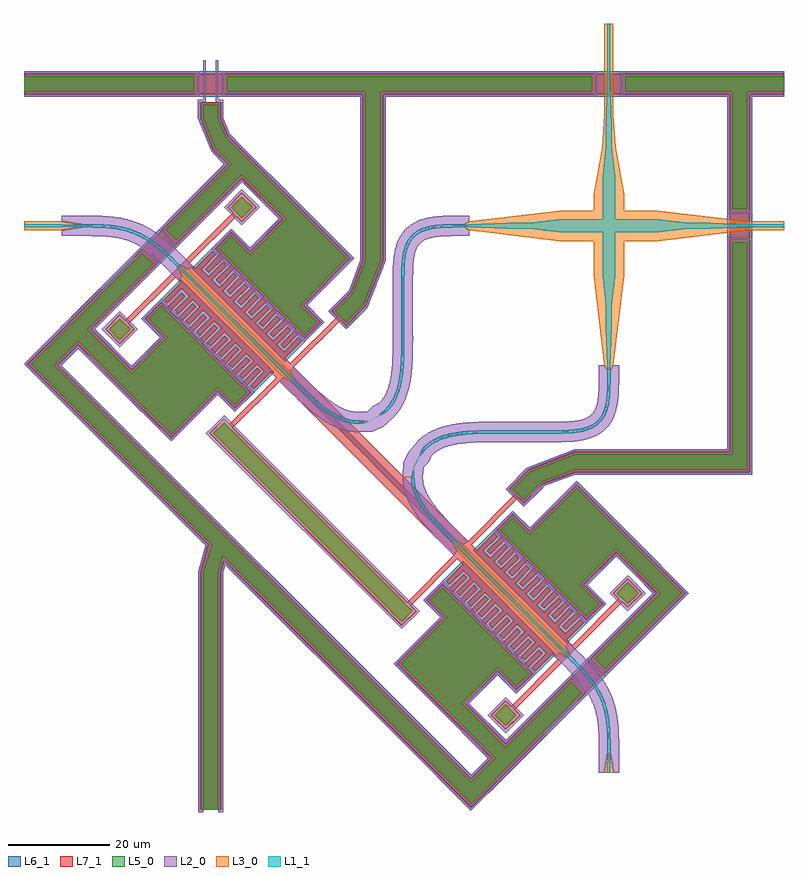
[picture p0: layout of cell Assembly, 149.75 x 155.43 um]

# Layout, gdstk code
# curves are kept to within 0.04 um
from math import pi, radians
import gdstk
lib = gdstk.Library(unit=1e-6, precision=1e-09)
def R(c, l, rs):  # rectangles x0, y0, x1, y1
    for r in rs: c.add(gdstk.rectangle(r[:2], r[2:], *l))
def A(c, l, x, y, w, h, nx, ny, dx, dy):  # array of equal rectangles
    R(c, l, [(x+i*dx, y+j*dy, x+i*dx+w, y+j*dy+h) for i in range(nx) for j in range(ny)])
def P(c, l, *ps):  # polygons
    for p in ps: c.add(gdstk.Polygon(p, *l))
L1_1 = (1, 1)
L2_0 = (2, 0)
L3_0 = (3, 0)
L5_0 = (5, 0)
L6_1 = (6, 1)
L7_1 = (7, 1)

bridge_short = lib.new_cell('Bridge_Short')
P(bridge_short, L2_0, [(-46.704,49.897),(-41.704,49.897),(-41.704,54.897),(-42.204,54.897),(-42.204,50.397),(-46.204,50.397),(-46.204,54.897),(-46.704,54.897)],
  [(-46.704,40.397),(-46.204,40.397),(-46.204,44.897),(-42.204,44.897),(-42.204,40.397),(-41.704,40.397),(-41.704,45.397),(-46.704,45.397)])
R(bridge_short, L5_0, [(-45.704,39.397,-42.704,44.397), (-45.704,50.897,-42.704,55.897)])
R(bridge_short, L6_1, [(-46.704,40.396,-41.704,45.397), (-46.704,45.397,-41.704,49.897), (-46.704,49.897,-41.704,54.897)])
R(bridge_short, L7_1, [(-46.204,39.897,-42.204,44.897), (-46.204,44.897,-42.204,50.397), (-46.204,50.397,-42.204,55.397)])

couplerinlet = lib.new_cell('CouplerInlet')
P(couplerinlet, L6_1, [(-33.954,47.721),(-3.954,48.146),(-3.954,47.146),(-33.954,47.571)])
R(couplerinlet, L7_1, [(-33.954,45.646,-3.954,49.646)])

anchorbeam_l13w1 = lib.new_cell('AnchorBeam_L13W1')
P(anchorbeam_l13w1, L2_0, [(-35.954,28.146),(-35.454,28.146),(-35.454,32.646),(-31.454,32.646),(-31.454,28.646),(-35.454,28.646),(-35.454,28.146),(-30.954,28.146),(-30.954,33.146),(-35.954,33.146)])
R(anchorbeam_l13w1, L5_0, [(-34.954,29.146,-31.954,32.146)])
R(anchorbeam_l13w1, L7_1, [(-35.454,28.646,-31.454,32.646), (-33.954,32.646,-32.954,45.646)])

anchoredcouplerinlet_woc = lib.new_cell('AnchoredCouplerInlet_woComb')
P(anchoredcouplerinlet_woc, L2_0, [(-1.954,62.646),(-6.454,62.646),(-6.454,67.146),(-6.954,67.146),(-6.954,62.146),(-1.954,62.146)],
  [(-6.954,28.146),(-6.454,28.646),(-6.454,32.646),(-2.454,32.646),(-1.954,33.146),(-6.954,33.146)])
R(anchoredcouplerinlet_woc, L5_0, [(-5.954,29.146,-2.954,32.146), (-5.954,63.146,-2.954,66.146)])
R(anchoredcouplerinlet_woc, L7_1, [(-6.454,28.646,-2.454,32.646), (-4.954,32.646,-3.954,45.646), (-4.954,49.646,-3.954,62.646), (-6.454,62.646,-2.454,66.646)])
anchoredcouplerinlet_woc.add(gdstk.Reference(couplerinlet, (0,0)))
anchoredcouplerinlet_woc.add(gdstk.Reference(anchorbeam_l13w1, (-66.908,95.292), rotation=pi))
anchoredcouplerinlet_woc.add(gdstk.Reference(anchorbeam_l13w1, (0,0)))

electrodeturn = lib.new_cell('ElectrodeTurn')
R(electrodeturn, L2_0, [(-41.954,54.896,-41.454,68.646), (-37.454,54.896,-36.954,68.146), (-26.704,59.646,-26.204,68.646), (-37.454,68.146,-26.704,68.646), (-32.395,72.646,-26.704,73.146), (-26.704,72.646,-16.704,73.146)])
P(electrodeturn, L2_0, [(-16.704,72.646),(-11.204,72.646),(-11.204,59.646),(-10.704,59.646),(-10.704,73.146),(-16.704,73.146)])
R(electrodeturn, L5_0, [(-40.954,55.896,-37.954,69.146), (-25.704,59.146,-11.704,72.146), (-40.954,69.146,-25.704,72.146)])
R(electrodeturn, L6_1, [(-41.954,54.896,-36.954,68.146), (-26.704,59.146,-10.704,73.146), (-41.954,68.146,-26.704,73.146)])
R(electrodeturn, L7_1, [(-41.454,55.396,-37.454,68.646), (-26.204,59.646,-11.204,72.646), (-41.454,68.646,-26.204,72.646)])

combelectrode = lib.new_cell('CombElectrode')
R(combelectrode, L2_0, [(-41.954,54.867,-41.454,54.938)])
combelectrode.add(gdstk.Reference(electrodeturn, (0,0.001)))
combelectrode.add(gdstk.Reference(electrodeturn, (0,95.293), x_reflection=True))
combelectrode.add(gdstk.Reference(bridge_short, (4.75,0)))

comb_l4w1_g500_d500_stop = lib.new_cell('Comb_L4W1_G500_D500_StoppersCent')
P(comb_l4w1_g500_d500_stop, L2_0, [(214.141,5.825),(240.141,5.825),(240.141,11.325),(234.891,11.325),(234.891,10.825),(239.641,10.825),(239.641,6.325),(214.641,6.325),(214.641,10.825),(219.891,10.825),(219.891,11.325),(214.141,11.325)])
R(comb_l4w1_g500_d500_stop, L5_0, [(215.141,6.825,239.141,10.325)])
R(comb_l4w1_g500_d500_stop, L6_1, [(214.141,0.325,240.141,11.325)])
A(comb_l4w1_g500_d500_stop, L7_1, 214.641, 0.825, 1, 1.3, 9, 1, 3, 0)
A(comb_l4w1_g500_d500_stop, L7_1, 214.641, 1.575, 1, 4, 9, 1, 3, 0)
A(comb_l4w1_g500_d500_stop, L7_1, 216.141, 2.075, 1, 4.25, 8, 1, 3, 0)
R(comb_l4w1_g500_d500_stop, L7_1, [(214.641,0.825,239.641,1.575), (214.641,6.325,239.641,10.825)])

actuator_stopperscenter = lib.new_cell('Actuator_StoppersCenter')
actuator_stopperscenter.add(gdstk.Reference(anchoredcouplerinlet_woc, (0,0)))
actuator_stopperscenter.add(gdstk.Reference(combelectrode, (0,-0.001)))
actuator_stopperscenter.add(gdstk.Reference(comb_l4w1_g500_d500_stop, (-246.095,48.821)))
actuator_stopperscenter.add(gdstk.Reference(comb_l4w1_g500_d500_stop, (-246.095,46.471), x_reflection=True))

couplerbody = lib.new_cell('CouplerBody')
R(couplerbody, L6_1, [(53.513,23.554,102.021,24.554)])
R(couplerbody, L7_1, [(53.513,22.054,102.021,26.054)])

linearcoupler_wcomb_wanc = lib.new_cell('LinearCoupler_wComb_wAnchors')
linearcoupler_wcomb_wanc.add(gdstk.Reference(actuator_stopperscenter, (69.359,-12.999), rotation=pi, x_reflection=True))
linearcoupler_wcomb_wanc.add(gdstk.Reference(actuator_stopperscenter, (28.759,-12.999)))
linearcoupler_wcomb_wanc.add(gdstk.Reference(couplerbody, (-28.708,10.593)))

sineturn_ang45_w0p6_r015 = lib.new_cell('SineTurn_ang45_w0p6_R015000nm_Of')
P(sineturn_ang45_w0p6_r015, L2_0, [(16.973,-9.237),(14.889,-7.181),(13.181,-5.653),(11.571,-4.454),(10.146,-3.623),(9.232,-3.203),(8.187,-2.822),(7.083,-2.52),(5.932,-2.299),(3.308,-2.049),(-0.5,-2),(-0.5,-0.225),(3.689,-0.291),(6.345,-0.567),(7.619,-0.823),(8.854,-1.172),(9.915,-1.565),(11.07,-2.102),(12.789,-3.134),(14.311,-4.284),(16.113,-5.895),(18.228,-7.982)],
  [(18.546,-7.664),(16.423,-5.569),(14.597,-3.936),(12.797,-2.597),(11.147,-1.636),(10.089,-1.149),(8.855,-0.699),(7.725,-0.385),(6.419,-0.123),(3.713,0.159),(-0.5,0.225),(-0.5,2),(3.809,1.931),(5.419,1.803),(6.708,1.628),(8.139,1.341),(9.387,0.994),(10.772,0.489),(11.946,-0.051),(13.775,-1.116),(15.476,-2.363),(17.18,-3.844),(19.801,-6.409)])
sineturn_ang45_w0p6_r015.add(gdstk.FlexPath([(-0.5,0),(0.621,0),(0.776,-0.001),(0.932,-0.001),(1.087,-0.002),(1.242,-0.002),(1.397,-0.004),(1.551,-0.005),(1.706,-0.006),(1.861,-0.008),(2.015,-0.011),(2.169,-0.013),(2.323,-0.016),(2.785,-0.028),(2.938,-0.033),(3.244,-0.045),(3.396,-0.051),(3.549,-0.059),(3.701,-0.066),(3.853,-0.075),(4.004,-0.084),(4.155,-0.094),(4.457,-0.116),(4.757,-0.142),(4.907,-0.156),(5.205,-0.186),(5.501,-0.22),(5.649,-0.239),(5.796,-0.258),(5.943,-0.278),(6.09,-0.3),(6.236,-0.322),(6.382,-0.345),(6.672,-0.395),(6.96,-0.449),(7.103,-0.478),(7.246,-0.508),(7.389,-0.539),(7.531,-0.571),(7.672,-0.604),(7.814,-0.639),(8.094,-0.711),(8.234,-0.75),(8.373,-0.789),(8.511,-0.829),(8.649,-0.871),(8.787,-0.914),(8.924,-0.958),(9.061,-1.004),(9.197,-1.05),(9.332,-1.098),(9.467,-1.148),(9.601,-1.198),(9.735,-1.25),(9.869,-1.303),(10.002,-1.357),(10.134,-1.413),(10.266,-1.47),(10.397,-1.528),(10.528,-1.587),(10.658,-1.648),(10.788,-1.71),(10.917,-1.773),(11.046,-1.837),(11.174,-1.903),(11.301,-1.97),(11.429,-2.038),(11.555,-2.107),(11.807,-2.249),(11.932,-2.322),(12.057,-2.397),(12.181,-2.472),(12.305,-2.548),(12.428,-2.626),(12.55,-2.705),(12.673,-2.785),(12.794,-2.866),(12.916,-2.948),(13.037,-3.032),(13.157,-3.116),(13.277,-3.201),(13.515,-3.375),(13.634,-3.464),(13.752,-3.553),(13.988,-3.735),(14.222,-3.921),(14.338,-4.015),(14.454,-4.11),(14.569,-4.206),(14.685,-4.303),(14.8,-4.401),(14.914,-4.499),(15.029,-4.598),(15.143,-4.698),(15.256,-4.799),(15.37,-4.9),(15.596,-5.104),(15.708,-5.208),(15.821,-5.311),(16.045,-5.521),(16.156,-5.626),(16.268,-5.732),(16.379,-5.838),(16.601,-6.052),(16.823,-6.268),(16.933,-6.376),(17.043,-6.485),(17.154,-6.593),(17.264,-6.702),(17.374,-6.812),(17.484,-6.921),(17.594,-7.031),(17.704,-7.14),(18.387,-7.823)], 0.45, ends="flush", simple_path=True, layer=1, datatype=1))  # L1_1

bend90sine600_r005000nm_ = lib.new_cell('Bend90Sine600_R005000nm_Off1000n')
P(bend90sine600_r005000nm_, L2_0, [(0.225,-12.107),(0.263,-8.306),(0.352,-6.985),(0.519,-5.749),(0.787,-4.625),(1.169,-3.626),(1.676,-2.765),(2.177,-2.177),(2.765,-1.676),(3.626,-1.169),(4.625,-0.787),(5.749,-0.519),(6.985,-0.352),(8.306,-0.263),(12.107,-0.225),(12.107,-2),(8.381,-2.036),(6.27,-2.231),(5.311,-2.436),(4.524,-2.711),(3.912,-3.042),(3.433,-3.433),(3.042,-3.912),(2.711,-4.524),(2.436,-5.311),(2.231,-6.27),(2.036,-8.381),(2,-12.107)],
  [(-2,-12.107),(-1.93,-7.636),(-1.799,-6.195),(-1.557,-4.794),(-1.165,-3.447),(-0.714,-2.416),(-0.128,-1.462),(0.603,-0.603),(1.462,0.128),(2.416,0.714),(3.447,1.165),(4.794,1.557),(6.195,1.799),(7.636,1.93),(12.107,2),(12.107,0.225),(8.013,0.174),(6.68,0.07),(5.425,-0.123),(4.272,-0.427),(3.432,-0.763),(2.501,-1.312),(1.859,-1.859),(1.312,-2.501),(0.763,-3.432),(0.427,-4.272),(0.123,-5.425),(-0.07,-6.68),(-0.174,-8.013),(-0.225,-12.107)])
bend90sine600_r005000nm_.add(gdstk.FlexPath([(0,-12.107),(0,-10.538),(0.002,-9.97),(0.005,-9.688),(0.008,-9.407),(0.013,-9.127),(0.02,-8.848),(0.028,-8.572),(0.038,-8.297),(0.051,-8.025),(0.066,-7.755),(0.083,-7.488),(0.104,-7.224),(0.128,-6.963),(0.154,-6.705),(0.185,-6.45),(0.219,-6.2),(0.256,-5.952),(0.298,-5.709),(0.344,-5.47),(0.394,-5.236),(0.449,-5.006),(0.508,-4.78),(0.572,-4.559),(0.641,-4.343),(0.714,-4.132),(0.793,-3.926),(0.877,-3.725),(0.966,-3.529),(1.061,-3.339),(1.161,-3.154),(1.266,-2.975),(1.378,-2.802),(1.494,-2.633),(1.617,-2.471),(1.745,-2.314),(1.879,-2.163),(2.018,-2.018),(2.163,-1.879),(2.314,-1.745),(2.471,-1.617),(2.633,-1.494),(2.802,-1.378),(2.975,-1.266),(3.154,-1.161),(3.339,-1.061),(3.529,-0.966),(3.725,-0.877),(3.926,-0.793),(4.132,-0.714),(4.343,-0.641),(4.559,-0.572),(4.78,-0.508),(5.006,-0.449),(5.236,-0.394),(5.47,-0.344),(5.709,-0.298),(5.952,-0.256),(6.2,-0.219),(6.45,-0.185),(6.705,-0.154),(6.963,-0.128),(7.224,-0.104),(7.488,-0.083),(7.755,-0.066),(8.025,-0.051),(8.297,-0.038),(8.572,-0.028),(8.848,-0.02),(9.127,-0.013),(9.407,-0.008),(9.688,-0.005),(9.97,-0.002),(10.538,0),(12.107,0)], 0.45, ends="flush", simple_path=True, layer=1, datatype=1))  # L1_1

halfsine0p6_r008000nm_of = lib.new_cell('HalfSine0p6_R008000nm_Off001nm_f')
P(halfsine0p6_r008000nm_of, L2_0, [(-2,-17.773),(-1.979,-14.554),(-1.878,-12.071),(-1.633,-9.66),(-1.26,-7.68),(-0.693,-5.808),(-0.039,-4.348),(0.794,-3.008),(1.796,-1.834),(3.069,-3.071),(2.228,-4.054),(1.406,-5.418),(0.873,-6.698),(0.397,-8.388),(0.081,-10.227),(-0.107,-12.188),(-0.204,-14.589),(-0.225,-17.773)],
  [(0.225,-17.773),(0.246,-14.599),(0.343,-12.218),(0.527,-10.285),(0.837,-8.486),(1.297,-6.846),(1.81,-5.618),(2.592,-4.32),(3.391,-3.385),(4.664,-4.622),(3.913,-5.525),(3.31,-6.596),(2.898,-7.656),(2.515,-9.129),(2.287,-10.515),(2.114,-12.335),(2.028,-14.298),(2,-17.773)])
halfsine0p6_r008000nm_of.add(gdstk.FlexPath([(0,-17.773),(0,-17.061),(0.001,-16.706),(0.002,-16.352),(0.004,-15.998),(0.006,-15.645),(0.01,-15.294),(0.015,-14.943),(0.021,-14.594),(0.029,-14.246),(0.039,-13.9),(0.05,-13.557),(0.064,-13.215),(0.079,-12.875),(0.098,-12.538),(0.118,-12.203),(0.142,-11.871),(0.168,-11.542),(0.197,-11.215),(0.229,-10.892),(0.265,-10.572),(0.304,-10.256),(0.347,-9.943),(0.393,-9.634),(0.443,-9.329),(0.497,-9.027),(0.555,-8.73),(0.617,-8.437),(0.684,-8.148),(0.755,-7.864),(0.831,-7.584),(0.911,-7.308),(0.996,-7.038),(1.085,-6.772),(1.18,-6.511),(1.279,-6.255),(1.384,-6.004),(1.494,-5.759),(1.608,-5.518),(1.729,-5.283),(1.854,-5.053),(1.985,-4.828),(2.121,-4.609),(2.263,-4.395),(2.41,-4.187),(2.563,-3.984),(2.721,-3.787),(2.885,-3.596),(3.054,-3.409),(3.229,-3.229),(3.23,-3.228)], 0.45, ends="flush", simple_path=True, layer=1, datatype=1))  # L1_1

bottomwaveguide = lib.new_cell('BottomWaveguide')
R(bottomwaveguide, L1_1, [(-56.258,-71.265,-46.607,-70.812), (-75.329,-52.191,-74.879,-42.54), (-35.1,-50.433,-33.9,-45.933), (-35.75,-40.183,-33.25,-20.683), (-44.25,-31.683,-24.75,-29.183), (-54.5,-31.033,-50,-29.833), (-19,-31.033,-14.5,-29.833), (-149.755,-30.735,-142.298,-30.135), (-7,-30.733,0,-30.133), (-35.1,-14.933,-33.9,-10.433), (-34.8,-8.454,-34.2,0), (-34.8,0,-34.2,9.418)])
P(bottomwaveguide, L1_1, [(-34.196,-138.231),(-34.796,-138.231),(-34.721,-134.231),(-34.271,-134.231)],
  [(-34.196,-138.231),(-34.796,-138.231),(-34.721,-134.231),(-34.271,-134.231)],
  [(-142.298,-30.735),(-142.298,-30.135),(-138.298,-30.21),(-138.298,-30.66)],
  [(-142.298,-30.735),(-142.298,-30.135),(-138.298,-30.21),(-138.298,-30.66)],
  [(-43.549,-113.681),(-63.499,-93.731),(-63.923,-94.155),(-43.973,-114.105)],
  [(-43.546,-113.681),(-43.97,-114.105),(-42.481,-115.504),(-42.163,-115.186)],
  [(-43.546,-113.681),(-43.97,-114.105),(-42.481,-115.504),(-42.163,-115.186)],
  [(-63.922,-94.155),(-63.498,-93.731),(-64.987,-92.332),(-65.305,-92.65)],
  [(-70.962,-74.107),(-72,-76),(-73,-78),(-73.371,-79.923),(-72.921,-79.923),(-73,-78),(-72,-76),(-70.644,-74.425)],
  [(-34.2,-57.933),(-34.8,-57.933),(-34.725,-58.933),(-34.275,-58.933)],
  [(-63.922,-94.155),(-63.498,-93.731),(-64.987,-92.332),(-65.305,-92.65)],
  [(-70.962,-74.107),(-72,-76),(-73,-78),(-73.371,-79.923),(-72.921,-79.923),(-73,-78),(-72,-76),(-70.644,-74.425)],
  [(-34.2,-57.933),(-34.8,-57.933),(-34.725,-58.933),(-34.275,-58.933)],
  [(-117.748,-39.482),(-97.798,-59.432),(-98.222,-59.856),(-118.172,-39.906)],
  [(-117.748,-39.479),(-118.172,-39.903),(-119.571,-38.414),(-119.253,-38.096)],
  [(-117.748,-39.479),(-118.172,-39.903),(-119.571,-38.414),(-119.253,-38.096)],
  [(-98.222,-59.855),(-97.798,-59.431),(-96.399,-60.92),(-96.717,-61.238)],
  [(-83.99,-69.304),(-82,-69),(-80,-68),(-78.174,-66.895),(-78.492,-66.577),(-80,-68),(-82,-69),(-83.99,-68.854)],
  [(-62,-30.133),(-62,-30.733),(-63,-30.658),(-63,-30.208)],
  [(-98.222,-59.855),(-97.798,-59.431),(-96.399,-60.92),(-96.717,-61.238)],
  [(-83.99,-69.304),(-82,-69),(-80,-68),(-78.174,-66.895),(-78.492,-66.577),(-80,-68),(-82,-69),(-83.99,-68.854)],
  [(-62,-30.133),(-62,-30.733),(-63,-30.658),(-63,-30.208)],
  [(-35.75,-40.183),(-35.1,-45.933),(-33.9,-45.933),(-33.25,-40.183)],
  [(-24.75,-31.683),(-19,-31.033),(-19,-29.833),(-24.75,-29.183)],
  [(-35.1,-50.433),(-34.8,-57.933),(-34.2,-57.933),(-33.9,-50.433)],
  [(-14.5,-31.033),(-7,-30.733),(-7,-30.133),(-14.5,-29.833)],
  [(-54.5,-29.833),(-62,-30.133),(-62,-30.733),(-54.5,-31.033)],
  [(-33.25,-20.683),(-33.9,-14.933),(-35.1,-14.933),(-35.75,-20.683)],
  [(-44.25,-29.183),(-50,-29.833),(-50,-31.033),(-44.25,-31.683)],
  [(-33.9,-10.433),(-34.2,-2.933),(-34.8,-2.933),(-35.1,-10.433)])
R(bottomwaveguide, L2_0, [(-75.146,-79.996,-73.37,-79.925), (-75.146,-79.996,-73.37,-79.925), (-56.258,-73.04,-46.607,-71.265), (-84.063,-71.079,-83.992,-69.303), (-84.063,-71.079,-83.992,-69.303), (-56.258,-70.812,-46.607,-69.037), (-77.107,-52.191,-75.329,-42.54), (-74.879,-52.191,-73.107,-42.54)])
P(bottomwaveguide, L2_0, [(-36.499,-134.231),(-34.724,-134.231),(-35.396,-138.231),(-36.499,-138.232)],
  [(-33.596,-138.231),(-32.496,-138.231),(-32.499,-134.231),(-34.271,-134.231)],
  [(-36.499,-134.231),(-34.724,-134.231),(-35.396,-138.231),(-36.499,-138.232)],
  [(-33.596,-138.231),(-32.496,-138.231),(-32.499,-134.231),(-34.271,-134.231)],
  [(-138.298,-28.432),(-138.298,-30.207),(-142.298,-29.535),(-142.299,-28.432)],
  [(-142.298,-31.335),(-142.298,-32.435),(-138.298,-32.432),(-138.298,-30.66)],
  [(-138.298,-28.432),(-138.298,-30.207),(-142.298,-29.535),(-142.299,-28.432)],
  [(-142.298,-31.335),(-142.298,-32.435),(-138.298,-32.432),(-138.298,-30.66)],
  [(-44.409,-114.545),(-42.481,-115.504),(-43.736,-116.759),(-45.195,-115.3)],
  [(-43.122,-113.257),(-42.163,-115.185),(-40.908,-113.93),(-42.367,-112.471)],
  [(-44.409,-114.545),(-42.481,-115.504),(-43.736,-116.759),(-45.195,-115.3)],
  [(-43.122,-113.257),(-42.163,-115.185),(-40.908,-113.93),(-42.367,-112.471)],
  [(-32.5,-58.933),(-34.275,-58.933),(-33.6,-57.933),(-32.5,-57.933)],
  [(-36.5,-58.933),(-36.5,-57.933),(-35.4,-57.933),(-34.725,-58.933)],
  [(-63.059,-93.291),(-64.987,-92.332),(-63.732,-91.077),(-62.273,-92.536)],
  [(-64.346,-94.579),(-65.305,-92.651),(-66.56,-93.906),(-65.101,-95.365)],
  [(-70.644,-74.425),(-72,-76),(-73,-78),(-72.921,-79.923),(-71.146,-79.923),(-71,-78),(-70,-77),(-69.389,-75.68)],
  [(-72.217,-72.852),(-74,-75),(-75,-77),(-75.146,-79.923),(-73.371,-79.923),(-73,-78),(-72,-76),(-70.962,-74.107)],
  [(-32.5,-58.933),(-34.275,-58.933),(-33.6,-57.933),(-32.5,-57.933)],
  [(-36.5,-58.933),(-36.5,-57.933),(-35.4,-57.933),(-34.725,-58.933)],
  [(-63.059,-93.291),(-64.987,-92.332),(-63.732,-91.077),(-62.273,-92.536)],
  [(-64.346,-94.579),(-65.305,-92.651),(-66.56,-93.906),(-65.101,-95.365)],
  [(-70.644,-74.425),(-72,-76),(-73,-78),(-72.921,-79.923),(-71.146,-79.923),(-71,-78),(-70,-77),(-69.389,-75.68)],
  [(-72.217,-72.852),(-74,-75),(-75,-77),(-75.146,-79.923),(-73.371,-79.923),(-73,-78),(-72,-76),(-70.962,-74.107)],
  [(-118.612,-40.342),(-119.571,-38.414),(-120.826,-39.669),(-119.367,-41.128)],
  [(-117.324,-39.055),(-119.252,-38.096),(-117.997,-36.841),(-116.538,-38.3)],
  [(-118.612,-40.342),(-119.571,-38.414),(-120.826,-39.669),(-119.367,-41.128)],
  [(-117.324,-39.055),(-119.252,-38.096),(-117.997,-36.841),(-116.538,-38.3)],
  [(-63,-28.433),(-63,-30.208),(-62,-29.533),(-62,-28.433)],
  [(-63,-32.433),(-62,-32.433),(-62,-31.333),(-63,-30.658)],
  [(-97.358,-58.992),(-96.399,-60.92),(-95.144,-59.665),(-96.603,-58.206)],
  [(-98.646,-60.279),(-96.718,-61.238),(-97.973,-62.493),(-99.432,-61.034)],
  [(-83.99,-68.854),(-82,-69),(-80,-68),(-78.492,-66.577),(-79.747,-65.322),(-81,-66),(-82,-67),(-83.99,-67.079)],
  [(-83.99,-71.079),(-81,-71),(-79,-70),(-76.919,-68.15),(-78.174,-66.895),(-80,-68),(-82,-69),(-83.99,-69.304)],
  [(-63,-28.433),(-63,-30.208),(-62,-29.533),(-62,-28.433)],
  [(-63,-32.433),(-62,-32.433),(-62,-31.333),(-63,-30.658)],
  [(-97.358,-58.992),(-96.399,-60.92),(-95.144,-59.665),(-96.603,-58.206)],
  [(-98.646,-60.279),(-96.718,-61.238),(-97.973,-62.493),(-99.432,-61.034)],
  [(-83.99,-68.854),(-82,-69),(-80,-68),(-78.492,-66.577),(-79.747,-65.322),(-81,-66),(-82,-67),(-83.99,-67.079)],
  [(-83.99,-71.079),(-81,-71),(-79,-70),(-76.919,-68.15),(-78.174,-66.895),(-80,-68),(-82,-69),(-83.99,-69.304)])
R(bottomwaveguide, L3_0, [(-75.146,-79.925,-73.371,-79.923), (-75.146,-79.925,-73.371,-79.923), (-83.992,-71.079,-83.99,-69.304), (-83.992,-71.079,-83.99,-69.304), (-37.5,-40.183,-31.5,-24.167), (-44.25,-33.433,-24.75,-27.433), (-149.755,-31.335,-142.298,-29.535), (-7,-31.333,0,-29.533), (-35.4,-8.478,-33.6,0), (-35.4,0,-33.6,9.418)])
P(bottomwaveguide, L3_0, [(-33.596,-138.231),(-35.396,-138.231),(-34.721,-134.231),(-34.271,-134.231)],
  [(-33.596,-138.231),(-35.396,-138.231),(-34.721,-134.231),(-34.271,-134.231)],
  [(-142.298,-31.335),(-142.298,-29.535),(-138.298,-30.21),(-138.298,-30.66)],
  [(-142.298,-31.335),(-142.298,-29.535),(-138.298,-30.21),(-138.298,-30.66)],
  [(-43.123,-113.256),(-63.073,-93.306),(-64.346,-94.579),(-44.396,-114.529)],
  [(-43.122,-113.257),(-44.395,-114.53),(-42.481,-115.504),(-42.163,-115.186)],
  [(-43.122,-113.257),(-44.395,-114.53),(-42.481,-115.504),(-42.163,-115.186)],
  [(-64.346,-94.579),(-63.073,-93.306),(-64.987,-92.332),(-65.305,-92.65)],
  [(-33.6,-57.933),(-35.4,-57.933),(-34.725,-58.933),(-34.275,-58.933)],
  [(-64.346,-94.579),(-63.073,-93.306),(-64.987,-92.332),(-65.305,-92.65)],
  [(-33.6,-57.933),(-35.4,-57.933),(-34.725,-58.933),(-34.275,-58.933)],
  [(-117.323,-39.056),(-97.373,-59.006),(-98.646,-60.279),(-118.596,-40.329)],
  [(-117.324,-39.055),(-118.597,-40.328),(-119.571,-38.414),(-119.253,-38.096)],
  [(-117.324,-39.055),(-118.597,-40.328),(-119.571,-38.414),(-119.253,-38.096)],
  [(-98.646,-60.279),(-97.373,-59.006),(-96.399,-60.92),(-96.717,-61.238)],
  [(-62,-29.533),(-62,-31.333),(-63,-30.658),(-63,-30.208)],
  [(-98.646,-60.279),(-97.373,-59.006),(-96.399,-60.92),(-96.717,-61.238)],
  [(-62,-29.533),(-62,-31.333),(-63,-30.658),(-63,-30.208)],
  [(-62,-31.333),(-44.25,-33.433),(-44.25,-27.433),(-62,-29.533)],
  [(-31.5,-24.167),(-33.2,-14.933),(-35.8,-14.933),(-37.5,-24.167)],
  [(-33.6,-57.933),(-31.5,-40.183),(-37.5,-40.183),(-35.4,-57.933)],
  [(-33.2,-14.933),(-33.6,-8.478),(-35.4,-8.478),(-35.8,-14.933)],
  [(-24.75,-33.433),(-7,-31.333),(-7,-29.533),(-24.75,-27.433)])
bottomwaveguide.add(gdstk.Reference(sineturn_ang45_w0p6_r015, (-41.969,-115.698), rotation=radians(315)))
bottomwaveguide.add(gdstk.Reference(bend90sine600_r005000nm_, (-34.5,-71.04), rotation=pi))
bottomwaveguide.add(gdstk.Reference(halfsine0p6_r008000nm_of, (-77.713,-79.924), rotation=radians(45)))
bottomwaveguide.add(gdstk.Reference(halfsine0p6_r008000nm_of, (-74.031,-71.037), rotation=3*pi/2, x_reflection=True))
bottomwaveguide.add(gdstk.Reference(bend90sine600_r005000nm_, (-34.5,-71.04), rotation=pi))
bottomwaveguide.add(gdstk.Reference(halfsine0p6_r008000nm_of, (-77.713,-79.924), rotation=radians(45)))
bottomwaveguide.add(gdstk.Reference(halfsine0p6_r008000nm_of, (-74.031,-71.037), rotation=3*pi/2, x_reflection=True))
bottomwaveguide.add(gdstk.Reference(sineturn_ang45_w0p6_r015, (-119.765,-37.902), rotation=radians(135), x_reflection=True))
bottomwaveguide.add(gdstk.Reference(bend90sine600_r005000nm_, (-75.107,-30.433), rotation=3*pi/2, x_reflection=True))
bottomwaveguide.add(gdstk.Reference(halfsine0p6_r008000nm_of, (-83.991,-73.646), rotation=radians(45), x_reflection=True))
bottomwaveguide.add(gdstk.Reference(halfsine0p6_r008000nm_of, (-75.104,-69.964), rotation=pi))
bottomwaveguide.add(gdstk.Reference(bend90sine600_r005000nm_, (-75.107,-30.433), rotation=3*pi/2, x_reflection=True))
bottomwaveguide.add(gdstk.Reference(halfsine0p6_r008000nm_of, (-83.991,-73.646), rotation=radians(45), x_reflection=True))
bottomwaveguide.add(gdstk.Reference(halfsine0p6_r008000nm_of, (-75.104,-69.964), rotation=pi))

assembly = lib.new_cell('Assembly')
R(assembly, L2_0, [(-115.468,-146.014,-114.461,-145.537), (-111.479,-146.006,-110.468,-145.537), (-115.468,-145.537,-114.968,-98.589), (-110.968,-145.537,-110.468,-98.589), (-41.277,-79.471,-6.228,-78.971), (-6.729,-79.471,-6.228,-32.999), (-41.28,-74.971,-10.729,-74.471), (-11.23,-74.971,-10.73,-37.683), (-78.986,-37.266,-78.486,-4.999), (-83.486,-37.263,-82.986,-4.499), (-11.23,-23.5,-10.73,-4.499), (-6.73,-23.498,-6.23,-4.499), (-115.469,-9.282,-114.969,-8.782), (-110.969,-9.282,-110.469,-8.782), (-115.469,-8.782,-114.969,-6.102), (-110.969,-8.782,-110.469,-6.102), (-115.469,-6.102,-114.469,-5.602), (-114.469,-6.102,-113.969,2.218), (-111.969,-6.102,-111.469,2.218), (-111.469,-6.102,-110.469,-5.602), (-149.755,-4.999,-126.401,-4.499), (-126.401,-4.999,-120.194,-4.499), (-105.757,-4.999,-83.486,-4.499), (-78.986,-4.999,-41.771,-4.499), (-27.271,-4.999,-10.73,-4.499), (-6.729,-4.999,0,-4.499), (-149.755,-0.499,-120.194,0.001), (-105.757,-0.499,-41.771,0.001), (-27.271,-0.499,0,0.001)])
P(assembly, L2_0, [(-100.051,-21.513),(-106.81,-14.754),(-107.164,-15.108),(-100.404,-21.867)],
  [(-22.305,-105.623),(-21.951,-105.977),(-18.769,-102.795),(-25.528,-96.036),(-25.882,-96.389),(-19.476,-102.795)],
  [(-61.677,-144.995),(-74.52,-132.152),(-74.875,-132.507),(-62.034,-145.352)],
  [(-52.003,-135.321),(-51.649,-135.675),(-61.68,-145.706),(-62.034,-145.352)],
  [(-109.935,-96.736),(-110.328,-96.344),(-110.968,-98.589),(-110.468,-98.589)],
  [(-110.447,-96.935),(-74.875,-132.507),(-74.52,-132.152),(-110.092,-96.58)],
  [(-149.368,-58.013),(-113.796,-93.585),(-113.441,-93.23),(-149.013,-57.658)],
  [(-113.412,-93.244),(-113.815,-92.867),(-115.468,-98.589),(-114.968,-98.589)],
  [(-142.554,-50.423),(-142.163,-50.814),(-149.364,-58.015),(-149.755,-57.624)],
  [(-142.759,-58.259),(-61.658,-139.36),(-61.302,-139.004),(-142.403,-57.903)],
  [(-139.088,-53.897),(-138.734,-54.251),(-142.751,-58.268),(-143.105,-57.914)],
  [(-61.592,-132.098),(-61.238,-131.744),(-57.661,-135.321),(-58.015,-135.675)],
  [(-58.01,-134.97),(-57.656,-135.324),(-61.318,-138.986),(-61.672,-138.632)],
  [(-139.088,-54.606),(-136.115,-57.579),(-135.759,-57.223),(-138.732,-54.25)],
  [(-142.569,-50.44),(-139.691,-47.635),(-139.337,-47.989),(-142.166,-50.817)],
  [(-113.896,-71.311),(-75.339,-109.868),(-74.984,-109.513),(-113.541,-70.956)],
  [(-109.591,-12.68),(-109.238,-12.327),(-110.469,-9.282),(-110.969,-9.282)],
  [(-112.423,-15.512),(-114.969,-9.282),(-115.469,-9.282),(-112.776,-15.865)],
  [(-110.348,-18.293),(-109.995,-17.94),(-112.423,-15.512),(-112.776,-15.865)],
  [(-107.163,-15.108),(-106.81,-14.755),(-109.238,-12.327),(-109.591,-12.68)],
  [(-89.309,-32.962),(-88.955,-32.608),(-91.784,-29.78),(-92.137,-30.134)],
  [(-50.644,-78.112),(-50.295,-78.461),(-41.28,-74.971),(-41.28,-74.471)],
  [(-47.467,-81.288),(-47.113,-81.642),(-41.277,-79.471),(-41.277,-78.971)],
  [(-54.473,-81.941),(-50.644,-78.112),(-50.295,-78.461),(-54.124,-82.29)],
  [(-48.114,-81.935),(-47.467,-81.288),(-47.113,-81.642),(-47.76,-82.289)],
  [(-82.127,-46.63),(-82.476,-46.281),(-78.986,-37.266),(-78.486,-37.266)],
  [(-85.303,-43.453),(-85.657,-43.099),(-83.486,-37.263),(-82.986,-37.263)],
  [(-85.956,-50.459),(-82.127,-46.63),(-82.476,-46.281),(-86.305,-50.11)],
  [(-85.95,-44.1),(-85.303,-43.453),(-85.657,-43.099),(-86.304,-43.746)],
  [(-110.523,-68.321),(-72.51,-106.334),(-72.154,-105.978),(-110.167,-67.965)])
R(assembly, L5_0, [(-114.468,-145.537,-111.468,-98.589), (-41.277,-78.471,-7.229,-75.471), (-10.229,-78.471,-7.229,-37.683), (-82.486,-37.263,-79.486,-3.999), (-10.23,-23.498,-7.23,-11.232), (-10.23,-14.233,-7.23,-3.999), (-114.469,-9.282,-111.469,-6.561), (-149.755,-3.999,-120.194,-0.999), (-104.757,-3.999,-42.271,-0.999), (-26.771,-3.999,-15.003,-0.999), (-18.004,-3.999,0,-0.999)])
P(assembly, L5_0, [(-110.353,-94.846),(-112.552,-92.648),(-114.468,-98.589),(-111.468,-98.589)],
  [(-139.086,-53.188),(-141.458,-50.816),(-148.295,-57.653),(-145.923,-60.025)],
  [(-145.926,-60.023),(-143.812,-57.909),(-61.673,-140.048),(-63.787,-142.162)],
  [(-52.357,-134.967),(-54.48,-132.844),(-63.79,-142.154),(-61.667,-144.277)],
  [(-111.469,-9.282),(-114.469,-9.282),(-112.069,-15.158),(-109.945,-13.034)],
  [(-108.933,-18.293),(-106.809,-16.169),(-109.945,-13.033),(-112.069,-15.157)],
  [(-41.277,-75.471),(-41.277,-78.471),(-47.821,-80.935),(-49.936,-78.82)],
  [(-51.296,-84.41),(-53.411,-82.295),(-49.936,-78.82),(-47.821,-80.935)],
  [(-79.486,-37.263),(-82.486,-37.263),(-84.95,-43.807),(-82.835,-45.922)],
  [(-88.425,-47.282),(-86.31,-49.397),(-82.835,-45.922),(-84.95,-43.807)],
  [(-110.342,-73.433),(-108.228,-71.319),(-73.22,-106.327),(-75.334,-108.441)])
R(assembly, L6_1, [(-115.468,-145.537,-110.468,-115.955), (-115.468,-115.955,-110.468,-98.589), (-26.38,-79.471,-6.228,-74.471), (-83.486,-37.263,-78.486,-22.866), (-11.23,-23.498,-6.229,-4.999), (-83.486,-22.866,-78.486,-4.999), (-149.755,-4.999,-142.401,0.001), (-142.401,-4.999,-126.401,0.001), (-126.401,-4.999,-57.771,0.001), (-57.771,-4.999,-41.771,0.001), (-27.271,-4.999,-15.003,0.001), (-18.004,-4.999,-15.328,0.001), (-18,-4.999,-6.229,0.001), (-16.271,-4.999,-11.771,0.001), (-6.229,-4.999,0,0.001)])
P(assembly, L6_1, [(-6.229,-37.682),(-11.23,-37.683),(-11.23,-74.471),(-6.229,-74.471)],
  [(-110.094,-97.288),(-113.972,-93.41),(-115.468,-98.589),(-110.468,-98.589)],
  [(-61.675,-138.631),(-142.39,-57.916),(-145.924,-61.457),(-65.216,-142.168)],
  [(-106.81,-14.754),(-110.349,-18.293),(-112.776,-15.865),(-115.469,-9.282),(-115.469,-6.102),(-110.469,-6.102),(-110.469,-9.282),(-109.238,-12.327)],
  [(-65.216,-142.168),(-58.341,-135.301),(-54.831,-138.857),(-61.68,-145.706)],
  [(-145.924,-61.457),(-139.088,-54.606),(-142.872,-50.817),(-149.755,-57.624)],
  [(-51.296,-85.824),(-54.831,-82.289),(-50.644,-78.112),(-41.28,-74.471),(-26.38,-74.471),(-26.38,-79.471),(-41.277,-79.471),(-47.113,-81.642)],
  [(-78.486,-37.266),(-83.486,-37.263),(-85.659,-43.101),(-82.123,-46.637)],
  [(-89.841,-47.281),(-86.304,-50.818),(-82.123,-46.637),(-85.66,-43.1)])
R(assembly, L7_1, [(-114.968,-145.537,-110.968,-98.589), (-41.277,-78.971,-6.729,-74.971), (-10.729,-78.471,-6.729,-37.683), (-82.986,-37.263,-78.986,-3.999), (-10.73,-23.5,-6.73,-11.232), (-10.73,-14.233,-6.73,-4.499), (-114.969,-9.282,-110.969,-6.102), (-149.755,-4.499,-120.194,-0.499), (-105.257,-4.499,-41.772,-0.499), (-27.271,-4.499,-15.003,-0.499), (-18.004,-4.499,0,-0.499)])
P(assembly, L7_1, [(-110.158,-95.751),(-113.253,-92.644),(-114.968,-98.589),(-110.968,-98.589)],
  [(-139.077,-53.887),(-142.154,-50.81),(-149.008,-57.664),(-145.931,-60.741)],
  [(-146.313,-60.359),(-143.486,-57.532),(-58.842,-142.176),(-61.669,-145.003)],
  [(-51.994,-135.312),(-54.822,-132.484),(-64.132,-141.794),(-61.304,-144.622)],
  [(-110.969,-9.282),(-114.969,-9.282),(-112.423,-15.512),(-109.591,-12.68)],
  [(-109.64,-18.295),(-106.808,-15.463),(-109.591,-12.68),(-112.423,-15.512)],
  [(-50.296,-78.462),(-47.468,-81.289),(-41.277,-78.971),(-41.28,-74.971)],
  [(-51.296,-79.461),(-50.296,-78.461),(-47.465,-81.292),(-48.465,-82.292)],
  [(-82.477,-46.282),(-85.304,-43.454),(-82.986,-37.263),(-78.986,-37.266)],
  [(-83.476,-47.282),(-82.476,-46.282),(-85.307,-43.451),(-86.307,-44.451)],
  [(-113.182,-71.316),(-110.355,-68.489),(-72.51,-106.334),(-75.337,-109.161)])
assembly.add(gdstk.Reference(bridge_short, (35.475,17.214), x_reflection=True))
assembly.add(gdstk.Reference(bridge_short, (-65.36,41.705), rotation=pi/2))
assembly.add(gdstk.Reference(linearcoupler_wcomb_wanc, (-140.01,-66.615), rotation=radians(315)))
assembly.add(gdstk.Reference(bottomwaveguide, (0,0)))
assembly.add(gdstk.Reference(bridge_short, (13.126,41.705), rotation=pi/2))

lib.write_gds('Assembly.gds')
